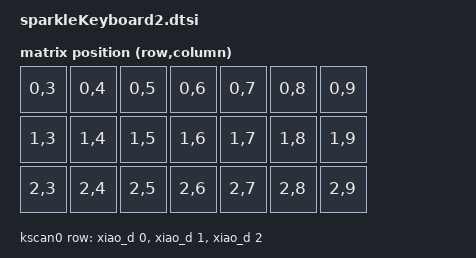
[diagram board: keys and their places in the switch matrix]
/*
 * SPDX-License-Identifier: MIT
 */

#include <dt-bindings/zmk/matrix_transform.h>

 / {  /* 先頭にスペースを入れない方が安全 */
    chosen {
        zmk,kscan = &kscan0;
        zmk,physical-layout = &physical_layout0;
    };

    default_transform: matrix_transform {
        compatible = "zmk,matrix-transform";
        columns = <14>;
        rows = <3>;
        map = <
          RC(0,3) RC(0,4) RC(0,5) RC(0,6) RC(0,7) RC(0,8) RC(0,9)
          RC(1,3) RC(1,4) RC(1,5) RC(1,6) RC(1,7) RC(1,8) RC(1,9)
          RC(2,3) RC(2,4) RC(2,5) RC(2,6) RC(2,7) RC(2,8) RC(2,9)
        >;
    };

    physical_layout0: physical_layout_0 {
        compatible = "zmk,physical-layout";
        display-name = "Default Layout";
        kscan = <&kscan0>;
        transform = <&default_transform>;
    };

    kscan0: kscan {
        compatible = "zmk,kscan-gpio-matrix";
        label = "KSCAN";
        diode-direction = "col2row";
        row-gpios = <&xiao_d 0 (GPIO_ACTIVE_HIGH | GPIO_PULL_DOWN)>,
                    <&xiao_d 1 (GPIO_ACTIVE_HIGH | GPIO_PULL_DOWN)>,
                    <&xiao_d 2 (GPIO_ACTIVE_HIGH | GPIO_PULL_DOWN)>;
    };

    &xiao_i2c { status = "disabled"; };
};
